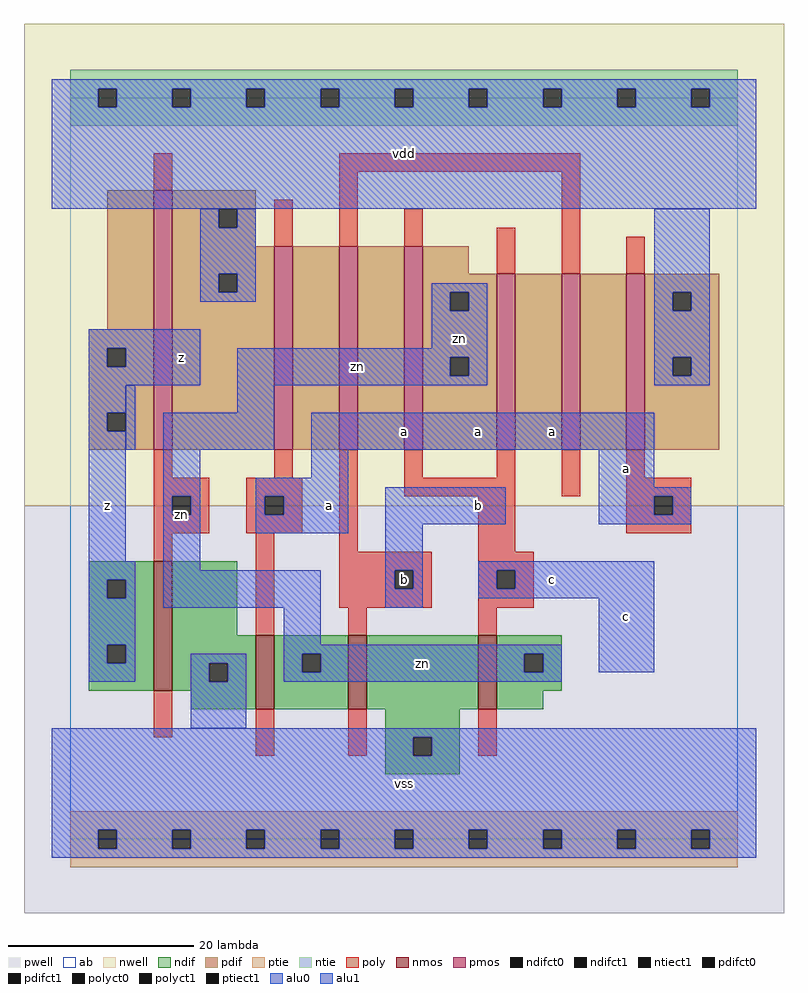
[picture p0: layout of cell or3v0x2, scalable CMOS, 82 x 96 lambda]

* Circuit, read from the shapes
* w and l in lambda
.subckt or3v0x2 a b c vdd vss z zn
M1 vss zn z vss nfet w=14 l=2
M2 zn a vss vss nfet w=8 l=2
M3 vss b zn vss nfet w=8 l=2
M4 zn c vss vss nfet w=8 l=2
M5 vdd zn z vdd pfet w=28 l=2
M6 n1 a vdd vdd pfet w=22 l=2
M7 n2 b n1 vdd pfet w=22 l=2
M8 zn c n2 vdd pfet w=22 l=2
M9 n3 c zn vdd pfet w=19 l=2
M10 n4 b n3 vdd pfet w=19 l=2
M11 vdd a n4 vdd pfet w=19 l=2
.ends

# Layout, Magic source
magic
tech scmos
<< ab >>
rect 0 0 72 80
<< nwell >>
rect -5 36 77 88
<< pwell >>
rect -5 -8 77 36
<< poly >>
rect 9 70 11 74
rect 29 72 55 74
rect 22 64 24 69
rect 29 64 31 72
rect 36 64 38 68
rect 46 61 48 66
rect 53 61 55 72
rect 60 61 62 65
rect 9 39 11 42
rect 22 39 24 42
rect 9 37 15 39
rect 9 35 11 37
rect 13 35 15 37
rect 9 33 15 35
rect 19 37 25 39
rect 19 35 21 37
rect 23 35 25 37
rect 19 33 25 35
rect 9 30 11 33
rect 20 22 22 33
rect 29 31 31 42
rect 36 39 38 42
rect 46 39 48 42
rect 36 37 48 39
rect 53 37 55 42
rect 60 39 62 42
rect 60 37 67 39
rect 44 31 48 37
rect 60 35 63 37
rect 65 35 67 37
rect 60 33 67 35
rect 29 29 39 31
rect 29 27 35 29
rect 37 27 39 29
rect 29 25 39 27
rect 44 29 50 31
rect 44 27 46 29
rect 48 27 50 29
rect 44 25 50 27
rect 30 22 32 25
rect 44 22 46 25
rect 9 11 11 16
rect 20 9 22 14
rect 30 9 32 14
rect 44 9 46 14
<< ndif >>
rect 2 28 9 30
rect 2 26 4 28
rect 6 26 9 28
rect 2 21 9 26
rect 2 19 4 21
rect 6 19 9 21
rect 2 16 9 19
rect 11 22 18 30
rect 11 19 20 22
rect 11 17 15 19
rect 17 17 20 19
rect 11 16 20 17
rect 13 14 20 16
rect 22 20 30 22
rect 22 18 25 20
rect 27 18 30 20
rect 22 14 30 18
rect 32 14 44 22
rect 46 20 53 22
rect 46 18 49 20
rect 51 18 53 20
rect 46 16 53 18
rect 46 14 51 16
rect 34 11 42 14
rect 34 9 37 11
rect 39 9 42 11
rect 34 7 42 9
<< pdif >>
rect 4 55 9 70
rect 2 53 9 55
rect 2 51 4 53
rect 6 51 9 53
rect 2 46 9 51
rect 2 44 4 46
rect 6 44 9 46
rect 2 42 9 44
rect 11 68 20 70
rect 11 66 16 68
rect 18 66 20 68
rect 11 64 20 66
rect 11 61 22 64
rect 11 59 16 61
rect 18 59 22 61
rect 11 42 22 59
rect 24 42 29 64
rect 31 42 36 64
rect 38 61 43 64
rect 38 59 46 61
rect 38 57 41 59
rect 43 57 46 59
rect 38 52 46 57
rect 38 50 41 52
rect 43 50 46 52
rect 38 42 46 50
rect 48 42 53 61
rect 55 42 60 61
rect 62 59 70 61
rect 62 57 65 59
rect 67 57 70 59
rect 62 52 70 57
rect 62 50 65 52
rect 67 50 70 52
rect 62 42 70 50
<< alu1 >>
rect -2 81 74 82
rect -2 79 3 81
rect 5 79 11 81
rect 13 79 19 81
rect 21 79 27 81
rect 29 79 35 81
rect 37 79 43 81
rect 45 79 51 81
rect 53 79 59 81
rect 61 79 67 81
rect 69 79 74 81
rect -2 68 74 79
rect 2 53 14 55
rect 2 51 4 53
rect 6 51 14 53
rect 2 49 14 51
rect 2 46 6 49
rect 2 44 4 46
rect 2 30 6 44
rect 26 42 63 46
rect 26 39 30 42
rect 2 28 7 30
rect 2 26 4 28
rect 6 26 7 28
rect 2 21 7 26
rect 20 37 30 39
rect 57 38 63 42
rect 20 35 21 37
rect 23 35 30 37
rect 20 33 30 35
rect 34 34 47 38
rect 57 37 67 38
rect 57 35 63 37
rect 65 35 67 37
rect 57 34 67 35
rect 34 29 38 34
rect 34 27 35 29
rect 37 27 38 29
rect 34 25 38 27
rect 44 29 63 30
rect 44 27 46 29
rect 48 27 63 29
rect 44 26 63 27
rect 2 19 4 21
rect 6 19 7 21
rect 2 17 7 19
rect 57 18 63 26
rect -2 11 74 12
rect -2 9 37 11
rect 39 9 74 11
rect -2 1 74 9
rect -2 -1 3 1
rect 5 -1 11 1
rect 13 -1 19 1
rect 21 -1 27 1
rect 29 -1 35 1
rect 37 -1 43 1
rect 45 -1 51 1
rect 53 -1 59 1
rect 61 -1 67 1
rect 69 -1 74 1
rect -2 -2 74 -1
<< ptie >>
rect 0 1 72 3
rect 0 -1 3 1
rect 5 -1 11 1
rect 13 -1 19 1
rect 21 -1 27 1
rect 29 -1 35 1
rect 37 -1 43 1
rect 45 -1 51 1
rect 53 -1 59 1
rect 61 -1 67 1
rect 69 -1 72 1
rect 0 -3 72 -1
<< ntie >>
rect 0 81 72 83
rect 0 79 3 81
rect 5 79 11 81
rect 13 79 19 81
rect 21 79 27 81
rect 29 79 35 81
rect 37 79 43 81
rect 45 79 51 81
rect 53 79 59 81
rect 61 79 67 81
rect 69 79 72 81
rect 0 77 72 79
<< nmos >>
rect 9 16 11 30
rect 20 14 22 22
rect 30 14 32 22
rect 44 14 46 22
<< pmos >>
rect 9 42 11 70
rect 22 42 24 64
rect 29 42 31 64
rect 36 42 38 64
rect 46 42 48 61
rect 53 42 55 61
rect 60 42 62 61
<< polyct0 >>
rect 11 35 13 37
<< polyct1 >>
rect 21 35 23 37
rect 63 35 65 37
rect 35 27 37 29
rect 46 27 48 29
<< ndifct0 >>
rect 15 17 17 19
rect 25 18 27 20
rect 49 18 51 20
<< ndifct1 >>
rect 4 26 6 28
rect 4 19 6 21
rect 37 9 39 11
<< ntiect1 >>
rect 3 79 5 81
rect 11 79 13 81
rect 19 79 21 81
rect 27 79 29 81
rect 35 79 37 81
rect 43 79 45 81
rect 51 79 53 81
rect 59 79 61 81
rect 67 79 69 81
<< ptiect1 >>
rect 3 -1 5 1
rect 11 -1 13 1
rect 19 -1 21 1
rect 27 -1 29 1
rect 35 -1 37 1
rect 43 -1 45 1
rect 51 -1 53 1
rect 59 -1 61 1
rect 67 -1 69 1
<< pdifct0 >>
rect 16 66 18 68
rect 16 59 18 61
rect 41 57 43 59
rect 41 50 43 52
rect 65 57 67 59
rect 65 50 67 52
<< pdifct1 >>
rect 4 51 6 53
rect 4 44 6 46
<< alu0 >>
rect 14 66 16 68
rect 18 66 20 68
rect 14 61 20 66
rect 14 59 16 61
rect 18 59 20 61
rect 14 58 20 59
rect 39 59 45 60
rect 39 57 41 59
rect 43 57 45 59
rect 39 53 45 57
rect 18 52 45 53
rect 18 50 41 52
rect 43 50 45 52
rect 18 49 45 50
rect 63 59 69 68
rect 63 57 65 59
rect 67 57 69 59
rect 63 52 69 57
rect 63 50 65 52
rect 67 50 69 52
rect 63 49 69 50
rect 6 42 7 49
rect 18 46 22 49
rect 10 42 22 46
rect 10 37 14 42
rect 10 35 11 37
rect 13 35 14 37
rect 10 29 14 35
rect 10 25 27 29
rect 23 21 27 25
rect 23 20 53 21
rect 13 19 19 20
rect 13 17 15 19
rect 17 17 19 19
rect 23 18 25 20
rect 27 18 49 20
rect 51 18 53 20
rect 23 17 53 18
rect 13 12 19 17
<< labels >>
rlabel alu0 12 35 12 35 6 zn
rlabel alu0 38 19 38 19 6 zn
rlabel alu0 31 51 31 51 6 zn
rlabel alu0 42 54 42 54 6 zn
rlabel alu1 4 36 4 36 6 z
rlabel alu1 12 52 12 52 6 z
rlabel alu1 28 36 28 36 6 a
rlabel alu1 36 6 36 6 6 vss
rlabel polyct1 36 28 36 28 6 b
rlabel alu1 44 36 44 36 6 b
rlabel alu1 52 28 52 28 6 c
rlabel alu1 44 44 44 44 6 a
rlabel alu1 52 44 52 44 6 a
rlabel alu1 36 44 36 44 6 a
rlabel alu1 36 74 36 74 6 vdd
rlabel alu1 60 24 60 24 6 c
rlabel alu1 60 40 60 40 6 a
<< end >>
